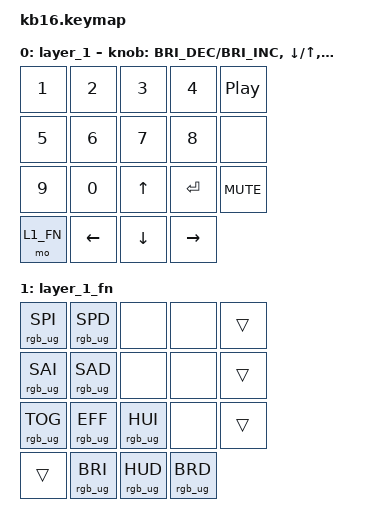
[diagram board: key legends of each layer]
/*
 * Copyright (c) 2022 The ZMK Contributors
 * SPDX-License-Identifier: MIT
 */

#include <behaviors.dtsi>
#include <dt-bindings/zmk/keys.h>
#include <dt-bindings/zmk/rgb.h>

#define L1 0
#define L1_FN 1

/ {
	keymap {
		compatible = "zmk,keymap";

		layer_1 {
			bindings = <
				&kp N1    &kp N2    &kp N3    &kp N4    &kp C_PP
				&kp N5    &kp N6    &kp N7    &kp N8    &none
				&kp N9    &kp N0    &kp UP    &kp RET   &kp C_MUTE
				&mo L1_FN &kp LEFT  &kp DOWN  &kp RIGHT
			>;
			sensor-bindings = <
				&inc_dec_kp C_BRI_DEC C_BRI_INC
				&inc_dec_kp DOWN UP
				&inc_dec_kp C_VOL_DN C_VOL_UP
			>;
		};

		layer_1_fn {
			bindings = <
				&rgb_ug RGB_SPI   &rgb_ug RGB_SPD   &none            &none            &trans
				&rgb_ug RGB_SAI   &rgb_ug RGB_SAD   &none            &none            &trans
				&rgb_ug RGB_TOG   &rgb_ug RGB_EFF   &rgb_ug RGB_HUI  &none            &trans
				&trans            &rgb_ug RGB_BRI   &rgb_ug RGB_HUD  &rgb_ug RGB_BRD
			>;
		};
	};
};
